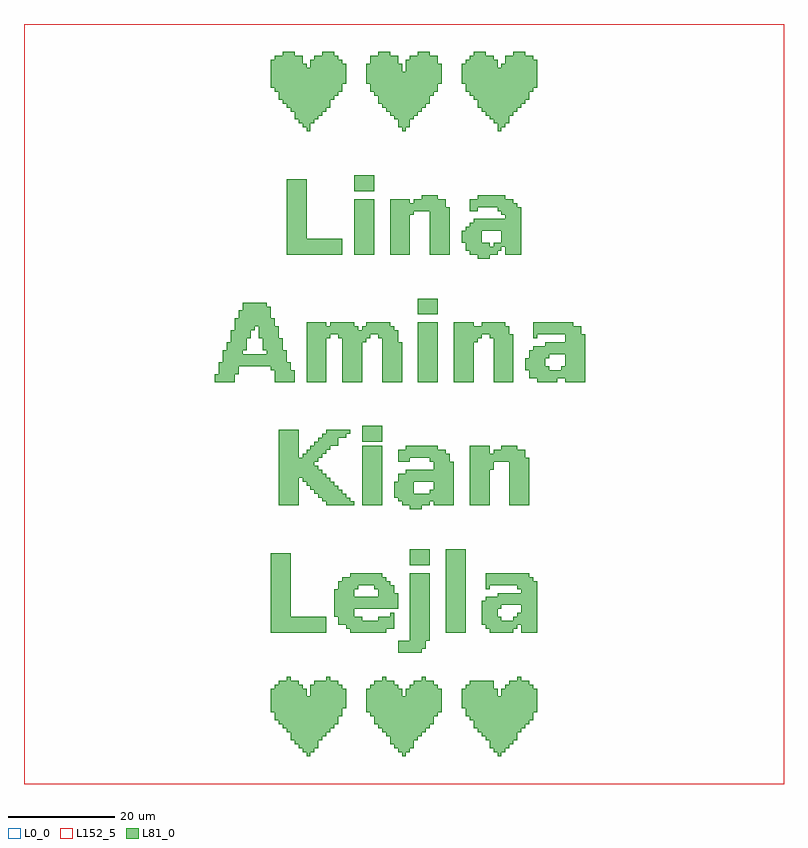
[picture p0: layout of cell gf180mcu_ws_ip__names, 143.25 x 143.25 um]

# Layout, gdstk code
import gdstk
lib = gdstk.Library(unit=1e-6, precision=1e-09)
def R(c, l, rs):  # rectangles x0, y0, x1, y1
    for r in rs: c.add(gdstk.rectangle(r[:2], r[2:], *l))
def P(c, l, *ps):  # polygons
    for p in ps: c.add(gdstk.Polygon(p, *l))
L0_0 = (0, 0)
L81_0 = (81, 0)
L152_5 = (152, 5)

gf180mcu_ws_ip__names = lib.new_cell('gf180mcu_ws_ip__names')
R(gf180mcu_ws_ip__names, L0_0, [(0,0,143.25,143.25)])
R(gf180mcu_ws_ip__names, L81_0, [(79.5,28.5,83.25,44.25), (72.75,41.25,76.5,44.25), (63.75,52.5,67.5,63.75), (63.75,64.5,67.5,67.5), (74.25,75.75,78,87), (74.25,88.5,78,91.5), (62.25,99.75,66,110.25), (62.25,111.75,66,114.75)])
P(gf180mcu_ws_ip__names, L81_0, [(53.25,5.25),(53.25,6),(52.5,6),(52.5,6.75),(51.75,6.75),(51.75,7.5),(51,7.5),(51,8.25),(50.25,8.25),(50.25,9.75),(49.5,9.75),(49.5,10.5),(48.75,10.5),(48.75,11.25),(48,11.25),(48,12),(47.25,12),(47.25,13.5),(46.5,13.5),(46.5,18),(47.25,18),(47.25,18.75),(48,18.75),(48,19.5),(49.5,19.5),(49.5,20.25),(50.25,20.25),(50.25,19.5),(51.75,19.5),(51.75,18.75),(52.5,18.75),(52.5,18),(53.25,18),(53.25,16.5),(54,16.5),(54,18.75),(54.75,18.75),(54.75,19.5),(57,19.5),(57,20.25),(57.75,20.25),(57.75,19.5),(59.25,19.5),(59.25,18.75),(60,18.75),(60,18),(60.75,18),(60.75,14.25),(60,14.25),(60,12.75),(59.25,12.75),(59.25,11.25),(58.5,11.25),(58.5,10.5),(57.75,10.5),(57.75,9.75),(57,9.75),(57,9),(56.25,9),(56.25,8.25),(55.5,8.25),(55.5,6.75),(54.75,6.75),(54.75,6),(54,6),(54,5.25)],
  [(71.25,5.25),(71.25,6),(70.5,6),(70.5,6.75),(69.75,6.75),(69.75,7.5),(69,7.5),(69,9),(68.25,9),(68.25,9.75),(67.5,9.75),(67.5,10.5),(66.75,10.5),(66.75,11.25),(66,11.25),(66,12.75),(65.25,12.75),(65.25,13.5),(64.5,13.5),(64.5,18),(65.25,18),(65.25,18.75),(66,18.75),(66,19.5),(67.5,19.5),(67.5,20.25),(68.25,20.25),(68.25,19.5),(69.75,19.5),(69.75,18.75),(70.5,18.75),(70.5,18),(71.25,18),(71.25,16.5),(72,16.5),(72,18),(72.75,18),(72.75,18.75),(73.5,18.75),(73.5,19.5),(75,19.5),(75,20.25),(75.75,20.25),(75.75,19.5),(77.25,19.5),(77.25,18.75),(78,18.75),(78,18),(78.75,18),(78.75,13.5),(78,13.5),(78,12.75),(77.25,12.75),(77.25,11.25),(76.5,11.25),(76.5,10.5),(75.75,10.5),(75.75,9.75),(75,9.75),(75,9),(74.25,9),(74.25,8.25),(73.5,8.25),(73.5,6.75),(72.75,6.75),(72.75,6),(72,6),(72,5.25)],
  [(89.25,5.25),(89.25,6),(88.5,6),(88.5,6.75),(87.75,6.75),(87.75,8.25),(87,8.25),(87,9),(86.25,9),(86.25,9.75),(85.5,9.75),(85.5,10.5),(84.75,10.5),(84.75,12),(84,12),(84,12.75),(83.25,12.75),(83.25,14.25),(82.5,14.25),(82.5,18),(83.25,18),(83.25,18.75),(84,18.75),(84,19.5),(88.5,19.5),(88.5,18),(89.25,18),(89.25,16.5),(90,16.5),(90,18),(90.75,18),(90.75,18.75),(91.5,18.75),(91.5,19.5),(93,19.5),(93,20.25),(93.75,20.25),(93.75,19.5),(95.25,19.5),(95.25,18.75),(96,18.75),(96,18),(96.75,18),(96.75,13.5),(96,13.5),(96,12),(95.25,12),(95.25,11.25),(94.5,11.25),(94.5,10.5),(93.75,10.5),(93.75,9.75),(93,9.75),(93,8.25),(92.25,8.25),(92.25,7.5),(91.5,7.5),(91.5,6.75),(90.75,6.75),(90.75,6),(90,6),(90,5.25)],
  [(61.5,28.5),(61.5,29.25),(60.75,29.25),(60.75,30),(59.25,30),(59.25,31.5),(58.5,31.5),(58.5,36.75),(59.25,36.75),(59.25,37.5),(63,37.5),(63,36.75),(62.25,36.75),(62.25,35.25),(66.75,35.25),(66.75,36.75),(66,36.75),(66,37.5),(59.25,37.5),(59.25,38.25),(60,38.25),(60,39),(61.5,39),(61.5,39.75),(67.5,39.75),(67.5,39),(68.25,39),(68.25,38.25),(69,38.25),(69,37.5),(69.75,37.5),(69.75,36),(70.5,36),(70.5,33),(62.25,33),(62.25,31.5),(63.75,31.5),(63.75,30.75),(66.75,30.75),(66.75,31.5),(69,31.5),(69,32.25),(69.75,32.25),(69.75,29.25),(68.25,29.25),(68.25,28.5)],
  [(70.5,24.75),(70.5,27),(72.75,27),(72.75,39.75),(76.5,39.75),(76.5,27),(75.75,27),(75.75,25.5),(75,25.5),(75,24.75)],
  [(87.75,28.5),(87.75,29.25),(87,29.25),(87,30),(86.25,30),(86.25,33.75),(90,33.75),(90,33),(89.25,33),(89.25,31.5),(90,31.5),(90,30.75),(92.25,30.75),(92.25,31.5),(93,31.5),(93,32.25),(93.75,32.25),(93.75,33.75),(86.25,33.75),(86.25,34.5),(87,34.5),(87,35.25),(89.25,35.25),(89.25,36),(93.75,36),(93.75,36.75),(93,36.75),(93,37.5),(87.75,37.5),(87.75,36.75),(87,36.75),(87,39.75),(95.25,39.75),(95.25,39),(96,39),(96,38.25),(96.75,38.25),(96.75,28.5),(93.75,28.5),(93.75,30),(93,30),(93,29.25),(92.25,29.25),(92.25,28.5)],
  [(46.5,28.5),(46.5,43.5),(50.25,43.5),(50.25,31.5),(57,31.5),(57,28.5)],
  [(72.75,51.75),(72.75,52.5),(71.25,52.5),(71.25,53.25),(70.5,53.25),(70.5,54),(69.75,54),(69.75,57),(73.5,57),(73.5,54.75),(76.5,54.75),(76.5,55.5),(77.25,55.5),(77.25,57),(70.5,57),(70.5,58.5),(72,58.5),(72,59.25),(77.25,59.25),(77.25,60.75),(76.5,60.75),(76.5,61.5),(72.75,61.5),(72.75,60.75),(70.5,60.75),(70.5,63),(72,63),(72,63.75),(78,63.75),(78,63),(79.5,63),(79.5,62.25),(80.25,62.25),(80.25,60.75),(81,60.75),(81,52.5),(77.25,52.5),(77.25,53.25),(76.5,53.25),(76.5,52.5),(75,52.5),(75,51.75)],
  [(84,52.5),(84,63.75),(87.75,63.75),(87.75,62.25),(88.5,62.25),(88.5,63),(90,63),(90,63.75),(93,63.75),(93,63),(94.5,63),(94.5,61.5),(95.25,61.5),(95.25,52.5),(91.5,52.5),(91.5,60.75),(88.5,60.75),(88.5,59.25),(87.75,59.25),(87.75,52.5)],
  [(48,52.5),(48,66.75),(51.75,66.75),(51.75,61.5),(52.5,61.5),(52.5,62.25),(53.25,62.25),(53.25,63),(54,63),(54,63.75),(54.75,63.75),(54.75,64.5),(55.5,64.5),(55.5,65.25),(56.25,65.25),(56.25,66),(57,66),(57,66.75),(61.5,66.75),(61.5,66),(60.75,66),(60.75,65.25),(59.25,65.25),(59.25,63.75),(57.75,63.75),(57.75,63),(57,63),(57,62.25),(56.25,62.25),(56.25,61.5),(55.5,61.5),(55.5,60.75),(54.75,60.75),(54.75,60),(55.5,60),(55.5,59.25),(56.25,59.25),(56.25,58.5),(57,58.5),(57,57.75),(57.75,57.75),(57.75,57),(58.5,57),(58.5,56.25),(59.25,56.25),(59.25,55.5),(60,55.5),(60,54.75),(60.75,54.75),(60.75,54),(61.5,54),(61.5,53.25),(62.25,53.25),(62.25,52.5),(57,52.5),(57,53.25),(56.25,53.25),(56.25,54),(55.5,54),(55.5,54.75),(54.75,54.75),(54.75,55.5),(54,55.5),(54,56.25),(53.25,56.25),(53.25,57),(52.5,57),(52.5,57.75),(51.75,57.75),(51.75,52.5)],
  [(53.25,75.75),(53.25,87),(57,87),(57,86.25),(57.75,86.25),(57.75,87),(62.25,87),(62.25,86.25),(63,86.25),(63,85.5),(63.75,85.5),(63.75,86.25),(64.5,86.25),(64.5,87),(69,87),(69,86.25),(69.75,86.25),(69.75,85.5),(70.5,85.5),(70.5,83.25),(71.25,83.25),(71.25,75.75),(67.5,75.75),(67.5,84),(66.75,84),(66.75,84.75),(65.25,84.75),(65.25,84),(64.5,84),(64.5,83.25),(63.75,83.25),(63.75,75.75),(60,75.75),(60,84),(59.25,84),(59.25,84.75),(57.75,84.75),(57.75,84),(57,84),(57,75.75)],
  [(81,75.75),(81,87),(84.75,87),(84.75,86.25),(86.25,86.25),(86.25,87),(90.75,87),(90.75,86.25),(91.5,86.25),(91.5,84.75),(92.25,84.75),(92.25,75.75),(88.5,75.75),(88.5,84),(87.75,84),(87.75,84.75),(86.25,84.75),(86.25,84),(85.5,84),(85.5,83.25),(84.75,83.25),(84.75,75.75)],
  [(96.75,75.75),(96.75,76.5),(95.25,76.5),(95.25,78),(94.5,78),(94.5,80.25),(95.25,80.25),(95.25,81),(99,81),(99,80.25),(98.25,80.25),(98.25,78.75),(99,78.75),(99,78),(101.25,78),(101.25,78.75),(102,78.75),(102,81),(95.25,81),(95.25,81.75),(96,81.75),(96,82.5),(98.25,82.5),(98.25,83.25),(102,83.25),(102,84.75),(96.75,84.75),(96.75,84),(96,84),(96,87),(103.5,87),(103.5,86.25),(105,86.25),(105,84.75),(105.75,84.75),(105.75,75.75),(102,75.75),(102,76.5),(100.5,76.5),(100.5,75.75)],
  [(36,75.75),(36,77.25),(36.75,77.25),(36.75,79.5),(37.5,79.5),(37.5,81.75),(38.25,81.75),(38.25,83.25),(39,83.25),(39,85.5),(39.75,85.5),(39.75,86.25),(43.5,86.25),(43.5,85.5),(42.75,85.5),(42.75,84),(42,84),(42,81.75),(41.25,81.75),(41.25,81),(45.75,81),(45.75,81.75),(45,81.75),(45,84),(44.25,84),(44.25,86.25),(39.75,86.25),(39.75,87.75),(40.5,87.75),(40.5,89.25),(41.25,89.25),(41.25,90.75),(45.75,90.75),(45.75,90),(46.5,90),(46.5,87.75),(47.25,87.75),(47.25,86.25),(48,86.25),(48,84),(48.75,84),(48.75,81.75),(49.5,81.75),(49.5,79.5),(50.25,79.5),(50.25,78),(51,78),(51,75.75),(47.25,75.75),(47.25,78),(46.5,78),(46.5,78.75),(40.5,78.75),(40.5,77.25),(39.75,77.25),(39.75,75.75)],
  [(69,99.75),(69,110.25),(72.75,110.25),(72.75,109.5),(73.5,109.5),(73.5,110.25),(75,110.25),(75,111),(78,111),(78,110.25),(79.5,110.25),(79.5,108.75),(80.25,108.75),(80.25,99.75),(76.5,99.75),(76.5,108),(73.5,108),(73.5,107.25),(72.75,107.25),(72.75,99.75)],
  [(85.5,99),(85.5,99.75),(84,99.75),(84,100.5),(83.25,100.5),(83.25,102),(82.5,102),(82.5,104.25),(86.25,104.25),(86.25,102),(87.75,102),(87.75,101.25),(88.5,101.25),(88.5,102),(90,102),(90,104.25),(83.25,104.25),(83.25,105),(84,105),(84,105.75),(84.75,105.75),(84.75,106.5),(90.75,106.5),(90.75,107.25),(90,107.25),(90,108),(89.25,108),(89.25,108.75),(85.5,108.75),(85.5,108),(84,108),(84,110.25),(85.5,110.25),(85.5,111),(90.75,111),(90.75,110.25),(92.25,110.25),(92.25,109.5),(93,109.5),(93,108.75),(93.75,108.75),(93.75,99.75),(90.75,99.75),(90.75,101.25),(90,101.25),(90,100.5),(89.25,100.5),(89.25,99.75),(87.75,99.75),(87.75,99)],
  [(49.5,99.75),(49.5,114),(53.25,114),(53.25,102.75),(60,102.75),(60,99.75)],
  [(53.25,123),(53.25,123.75),(52.5,123.75),(52.5,124.5),(51.75,124.5),(51.75,125.25),(51,125.25),(51,126.75),(50.25,126.75),(50.25,127.5),(49.5,127.5),(49.5,128.25),(48.75,128.25),(48.75,129),(48,129),(48,130.5),(47.25,130.5),(47.25,131.25),(46.5,131.25),(46.5,136.5),(47.25,136.5),(47.25,137.25),(48.75,137.25),(48.75,138),(51,138),(51,137.25),(52.5,137.25),(52.5,135.75),(53.25,135.75),(53.25,135),(54,135),(54,136.5),(54.75,136.5),(54.75,137.25),(56.25,137.25),(56.25,138),(58.5,138),(58.5,137.25),(59.25,137.25),(59.25,136.5),(60,136.5),(60,135.75),(60.75,135.75),(60.75,132),(60,132),(60,130.5),(59.25,130.5),(59.25,129.75),(58.5,129.75),(58.5,129),(57.75,129),(57.75,127.5),(57,127.5),(57,126.75),(56.25,126.75),(56.25,126),(55.5,126),(55.5,125.25),(54.75,125.25),(54.75,124.5),(54,124.5),(54,123)],
  [(71.25,123),(71.25,123.75),(70.5,123.75),(70.5,125.25),(69.75,125.25),(69.75,126),(69,126),(69,126.75),(68.25,126.75),(68.25,127.5),(67.5,127.5),(67.5,128.25),(66.75,128.25),(66.75,129.75),(66,129.75),(66,130.5),(65.25,130.5),(65.25,132),(64.5,132),(64.5,135.75),(65.25,135.75),(65.25,137.25),(66.75,137.25),(66.75,138),(69,138),(69,137.25),(70.5,137.25),(70.5,135.75),(71.25,135.75),(71.25,134.25),(72,134.25),(72,136.5),(72.75,136.5),(72.75,137.25),(74.25,137.25),(74.25,138),(76.5,138),(76.5,137.25),(78,137.25),(78,135.75),(78.75,135.75),(78.75,132),(78,132),(78,130.5),(77.25,130.5),(77.25,129.75),(76.5,129.75),(76.5,128.25),(75.75,128.25),(75.75,127.5),(75,127.5),(75,126.75),(74.25,126.75),(74.25,126),(73.5,126),(73.5,125.25),(72.75,125.25),(72.75,123.75),(72,123.75),(72,123)],
  [(89.25,123),(89.25,124.5),(88.5,124.5),(88.5,125.25),(87.75,125.25),(87.75,126),(87,126),(87,126.75),(86.25,126.75),(86.25,127.5),(85.5,127.5),(85.5,129),(84.75,129),(84.75,129.75),(84,129.75),(84,130.5),(83.25,130.5),(83.25,132),(82.5,132),(82.5,135.75),(83.25,135.75),(83.25,136.5),(84,136.5),(84,137.25),(84.75,137.25),(84.75,138),(87,138),(87,137.25),(88.5,137.25),(88.5,136.5),(89.25,136.5),(89.25,135),(90,135),(90,135.75),(90.75,135.75),(90.75,137.25),(92.25,137.25),(92.25,138),(94.5,138),(94.5,137.25),(96,137.25),(96,136.5),(96.75,136.5),(96.75,131.25),(96,131.25),(96,130.5),(95.25,130.5),(95.25,129),(94.5,129),(94.5,128.25),(93.75,128.25),(93.75,127.5),(93,127.5),(93,126.75),(92.25,126.75),(92.25,126),(91.5,126),(91.5,124.5),(90.75,124.5),(90.75,123.75),(90,123.75),(90,123)])
R(gf180mcu_ws_ip__names, L152_5, [(0,0,143.25,143.25)])

lib.write_gds('gf180mcu_ws_ip__names.gds')
